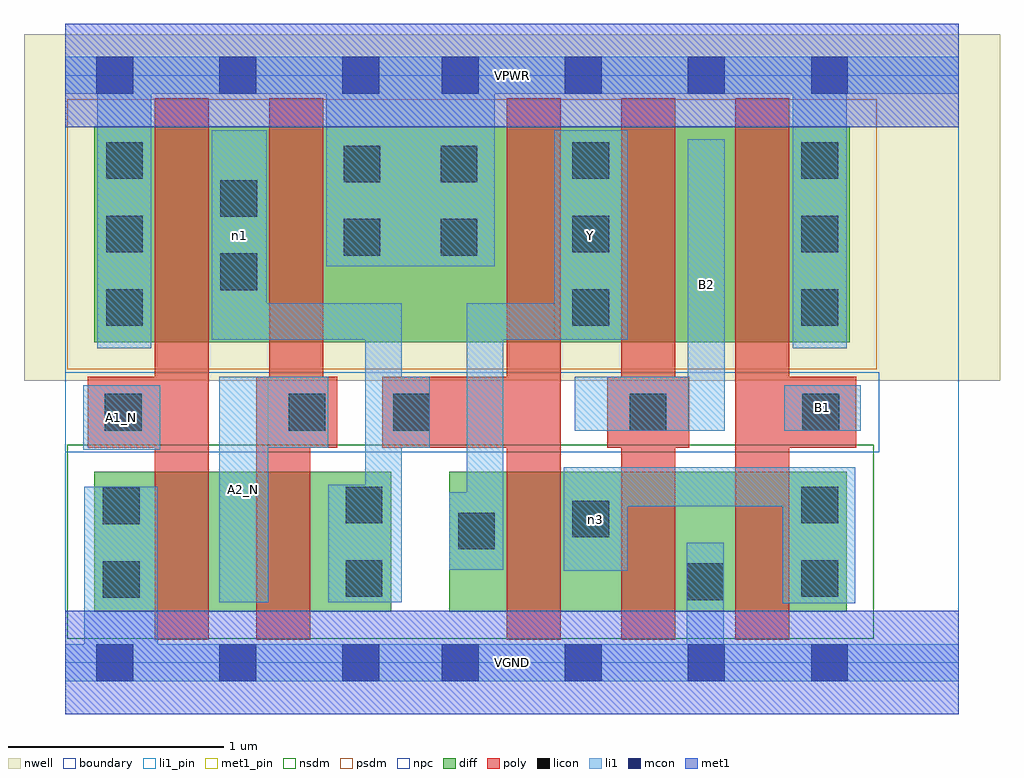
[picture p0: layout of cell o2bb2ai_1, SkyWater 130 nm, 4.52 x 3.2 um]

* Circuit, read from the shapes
.subckt o2bb2ai_1 A1_N A2_N B1 B2 VGND VPWR Y n1 n3
XM1 n2 A1_N VGND VSUBS sky130_fd_pr__nfet_01v8 w=0.65 l=0.25
XM2 n1 A2_N n2 VSUBS sky130_fd_pr__nfet_01v8 w=0.65 l=0.25
XM3 n3 n1 Y VSUBS sky130_fd_pr__nfet_01v8 w=0.65 l=0.25
XM4 VGND B2 n3 VSUBS sky130_fd_pr__nfet_01v8 w=0.65 l=0.25
XM5 n3 B1 VGND VSUBS sky130_fd_pr__nfet_01v8 w=0.65 l=0.25
XM6 n1 A1_N VPWR n4 sky130_fd_pr__pfet_01v8 w=1 l=0.25
XM7 VPWR A2_N n1 n4 sky130_fd_pr__pfet_01v8 w=1 l=0.25
XM8 Y n1 VPWR n4 sky130_fd_pr__pfet_01v8 w=1 l=0.25
XM9 n5 B2 Y n4 sky130_fd_pr__pfet_01v8 w=1 l=0.25
XM10 VPWR B1 n5 n4 sky130_fd_pr__pfet_01v8 w=1 l=0.25
.ends

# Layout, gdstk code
import gdstk
lib = gdstk.Library(unit=1e-6, precision=1e-09)
def R(c, l, rs):  # rectangles x0, y0, x1, y1
    for r in rs: c.add(gdstk.rectangle(r[:2], r[2:], *l))
def A(c, l, x, y, w, h, nx, ny, dx, dy):  # array of equal rectangles
    R(c, l, [(x+i*dx, y+j*dy, x+i*dx+w, y+j*dy+h) for i in range(nx) for j in range(ny)])
nwell = (64, 20)
diff = (65, 20)
poly = (66, 20)
licon = (66, 44)
li1_pin = (67, 16)
li1 = (67, 20)
mcon = (67, 44)
met1_pin = (68, 16)
met1 = (68, 20)
nsdm = (93, 44)
psdm = (94, 20)
npc = (95, 20)
boundary = (235, 4)

o2bb2ai_1 = lib.new_cell('o2bb2ai_1')
R(o2bb2ai_1, nwell, [(-0.19,1.305,4.33,2.91), (0,1.305,4.14,2.91)])
R(o2bb2ai_1, diff, [(0.135,0.235,1.51,0.885), (1.78,0.235,3.62,0.885), (0.135,1.485,3.635,2.485)])
A(o2bb2ai_1, poly, 2.045, 0.105, 0.25, 2.51, 3, 1, 0.53, 0)
R(o2bb2ai_1, poly, [(0.415,0.105,0.665,2.615), (0.885,0.105,1.135,1.325), (0.105,0.995,0.665,1.325), (0.885,0.995,1.26,1.325), (0.945,0.995,1.195,2.615), (1.47,0.995,2.295,1.325), (2.51,0.995,2.89,1.325), (3.105,0.995,3.665,1.325)])
A(o2bb2ai_1, licon, 0.19, 1.56, 0.17, 0.17, 1, 3, 0, 0.34)
A(o2bb2ai_1, licon, 2.35, 1.56, 0.17, 0.17, 1, 3, 0, 0.34)
A(o2bb2ai_1, licon, 3.41, 1.56, 0.17, 0.17, 1, 3, 0, 0.34)
R(o2bb2ai_1, licon, [(2.88,0.29,3.05,0.46), (0.175,0.3,0.345,0.47), (1.3,0.305,1.47,0.475), (3.41,0.305,3.58,0.475), (1.82,0.525,1.99,0.695), (2.35,0.58,2.52,0.75), (0.175,0.64,0.345,0.81), (1.3,0.645,1.47,0.815), (3.41,0.645,3.58,0.815), (0.185,1.075,0.355,1.245), (1.035,1.075,1.205,1.245), (1.52,1.075,1.69,1.245), (2.615,1.075,2.785,1.245), (3.415,1.075,3.585,1.245), (0.72,1.725,0.89,1.895), (1.29,1.885,1.46,2.055), (1.74,1.885,1.91,2.055), (0.72,2.065,0.89,2.235), (1.29,2.225,1.46,2.395), (1.74,2.225,1.91,2.395)])
R(o2bb2ai_1, li1_pin, [(0.715,0.28,0.94,1.325), (0.085,0.985,0.44,1.285), (2.885,1.075,3.055,2.425), (3.33,1.075,3.685,1.285), (2.265,1.495,2.605,2.465)])
R(o2bb2ai_1, li1, [(0,-0.085,4.14,0.085), (0.09,-0.085,0.43,0.815), (2.88,-0.085,3.05,0.555), (3.325,0.275,3.66,0.905), (0.715,0.28,0.94,1.325), (1.22,0.28,1.56,0.825), (1.39,0.28,1.56,1.665), (2.31,0.425,2.605,0.905), (1.78,0.43,2.03,0.79), (1.86,0.43,2.03,1.665), (2.31,0.725,3.66,0.905), (0.085,0.985,0.44,1.285), (0.715,0.995,1.22,1.325), (1.39,0.995,1.69,1.325), (2.36,1.075,3.055,1.325), (2.885,1.075,3.055,2.425), (3.33,1.075,3.685,1.285), (0.15,1.455,0.4,2.805), (3.37,1.455,3.62,2.805), (0.68,1.495,0.935,2.465), (0.68,1.495,1.56,1.665), (1.86,1.495,2.605,1.665), (2.265,1.495,2.605,2.465), (1.21,1.835,1.99,2.805), (0,2.635,4.14,2.805)])
A(o2bb2ai_1, mcon, 0.145, -0.085, 0.17, 0.17, 3, 2, 0.57, 2.72)
A(o2bb2ai_1, mcon, 1.745, -0.085, 0.17, 0.17, 4, 2, 0.57, 2.72)
R(o2bb2ai_1, met1_pin, [(0,-0.24,4.14,0.24), (0,2.48,4.14,2.96)])
R(o2bb2ai_1, met1, [(0,-0.24,4.14,0.24), (0,2.48,4.14,2.96)])
R(o2bb2ai_1, nsdm, [(0.01,0.11,3.745,1.01)])
R(o2bb2ai_1, psdm, [(0.01,1.36,3.76,2.61)])
R(o2bb2ai_1, npc, [(0,0.975,3.77,1.345)])
R(o2bb2ai_1, boundary, [(0,0,4.14,2.72)])
o2bb2ai_1.add(gdstk.Label('A1_N', (0.262,1.135), layer=67, texttype=5))
o2bb2ai_1.add(gdstk.Label('A2_N', (0.827,0.802), layer=67, texttype=5))
o2bb2ai_1.add(gdstk.Label('B1', (3.507,1.18), layer=67, texttype=5))
o2bb2ai_1.add(gdstk.Label('B2', (2.97,1.75), layer=67, texttype=5))
o2bb2ai_1.add(gdstk.Label('Y', (2.435,1.98), layer=67, texttype=5))
o2bb2ai_1.add(gdstk.Label('n3', (2.457,0.665), layer=67, texttype=5))
o2bb2ai_1.add(gdstk.Label('n1', (0.807,1.98), layer=67, texttype=5))
o2bb2ai_1.add(gdstk.Label('VPWR', (2.07,2.72), layer=68, texttype=5))
o2bb2ai_1.add(gdstk.Label('VGND', (2.07,0), layer=68, texttype=5))
o2bb2ai_1.add(gdstk.Label('A1_N', (0.262,1.135), layer=67, texttype=16))
o2bb2ai_1.add(gdstk.Label('A2_N', (0.827,0.802), layer=67, texttype=16))
o2bb2ai_1.add(gdstk.Label('B1', (3.507,1.18), layer=67, texttype=16))
o2bb2ai_1.add(gdstk.Label('B2', (2.97,1.75), layer=67, texttype=16))
o2bb2ai_1.add(gdstk.Label('Y', (2.435,1.98), layer=67, texttype=16))
o2bb2ai_1.add(gdstk.Label('VPWR', (2.07,2.72), layer=68, texttype=16))
o2bb2ai_1.add(gdstk.Label('VGND', (2.07,0), layer=68, texttype=16))

lib.write_gds('o2bb2ai_1.gds')
